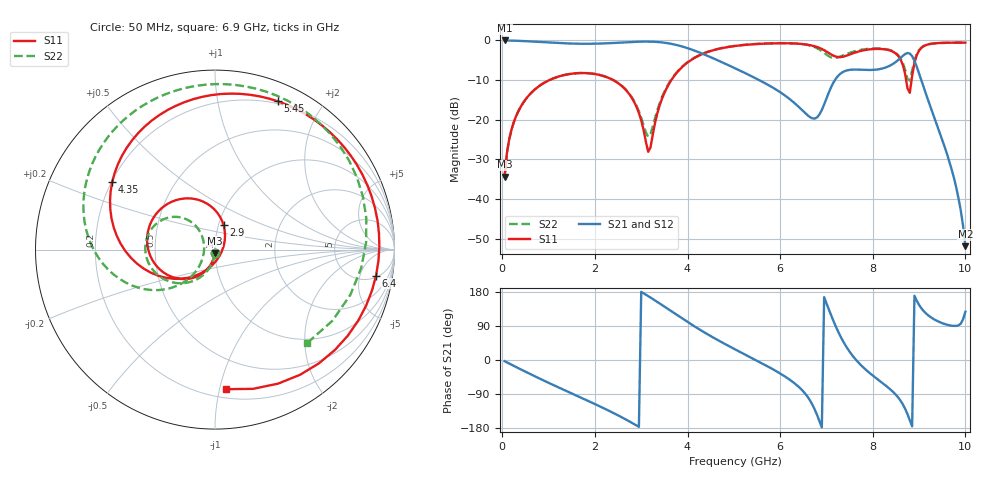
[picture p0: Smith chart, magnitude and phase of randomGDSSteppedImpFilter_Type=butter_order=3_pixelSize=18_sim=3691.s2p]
! freq	dB(S11)	phase(S11)	dB(S12)	phase(S12)
!  dB(S21)	phase(S21)	dB(S22)	phase(S22)
!S-par simulation data
#  GHz  S  DB  R 50
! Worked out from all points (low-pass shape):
!   200 points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, 50 MHz to 10 GHz, reference 50 ohm
!   highest |S21| = -0.01 dB at 50 MHz (marker M1); lowest = -51.9 dB at 10 GHz (marker M2)
!   |S21| within 3 dB of the highest: start of sweep to 4.249 GHz
!   lowest |S11| = -34.4 dB at 50 MHz (marker M3), VSWR 1.04, Z = 49.9 - j1.9 ohm
!   |S11| at or under -10 dB: start of sweep to 1.019 GHz; 2.393 GHz to 3.651 GHz (1.258 GHz wide, 41.6 % of centre); 8.72 GHz to 8.838 GHz (117.3 MHz wide, 1.34 % of centre)
!   |S22| runs from -34.4 to -0.6 dB; largest |S21 - S12| = 0
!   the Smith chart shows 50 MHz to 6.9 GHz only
!   S11 on the Smith chart (normalised r, x): 50 MHz: 1.00, -0.04; 2.9 GHz: 1.06, +0.29; 4.35 GHz: 0.20, +0.29; 5.45 GHz: 0.18, +1.50; 6.4 GHz: 6, -9; 6.9 GHz: 0.26, -1.05
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0.05  -34.40 -93.3  -0.01 -3.2  -0.01 -3.2  -34.40 -92.8
0.5  -14.93 -123.7  -0.19 -30.8  -0.19 -30.8  -14.92 -118.9
1.75  -8.23 158.1  -0.84 -102.2  -0.84 -102.2  -8.21 176.9
2.9  -16.82 70.6  -0.34 -172.9  -0.34 -172.9  -16.53 129.1
3.15  -28.11 -12.8  -0.30 168.7  -0.30 168.7  -24.32 174.2
3.4  -16.31 -120.6  -0.44 149.0  -0.44 149.0  -15.74 -131.3
4.35  -3.29 146.8  -3.49 73.8  -3.49 73.8  -3.22 177.7
5.05  -1.37 94.6  -7.16 26.6  -7.16 26.6  -1.33 136.5
5.45  -0.94 66.9  -9.43 1.4  -9.43 1.4  -0.90 113.9
6.4  -0.83 -9.1  -16.76 -70.7  -16.76 -70.7  -0.82 45.1
6.7  -1.33 -47.5  -19.69 -118.8  -19.69 -118.8  -1.48 2.9
6.9  -2.16 -85.5  -17.54 -177.9  -17.54 -177.9  -2.72 -45.6
7.05  -3.17 -124.3  -13.16 133.6  -13.16 133.6  -3.99 -98.8
7.3  -4.21 157.7  -8.40 63.1  -8.40 63.1  -4.06 172.3
7.65  -2.94 77.0  -7.36 -1.3  -7.36 -1.3  -2.60 108.3
8.35  -2.46 -0.8  -6.48 -74.5  -6.48 -74.5  -2.36 44.0
8.7  -8.54 -34.0  -3.42 -129.0  -3.42 -129.0  -7.50 18.1
8.8  -13.22 15.2  -3.30 -158.7  -3.30 -158.7  -10.16 51.4
8.9  -5.65 33.5  -5.12 169.5  -5.12 169.5  -5.07 66.6
9.2  -0.99 -4.1  -15.25 117.6  -15.25 117.6  -0.97 33.5
9.75  -0.56 -36.2  -34.56 89.9  -34.56 89.9  -0.59 -0.8
10  -0.56 -46.4  -51.93 127.5  -51.93 127.5  -0.60 -12.7
